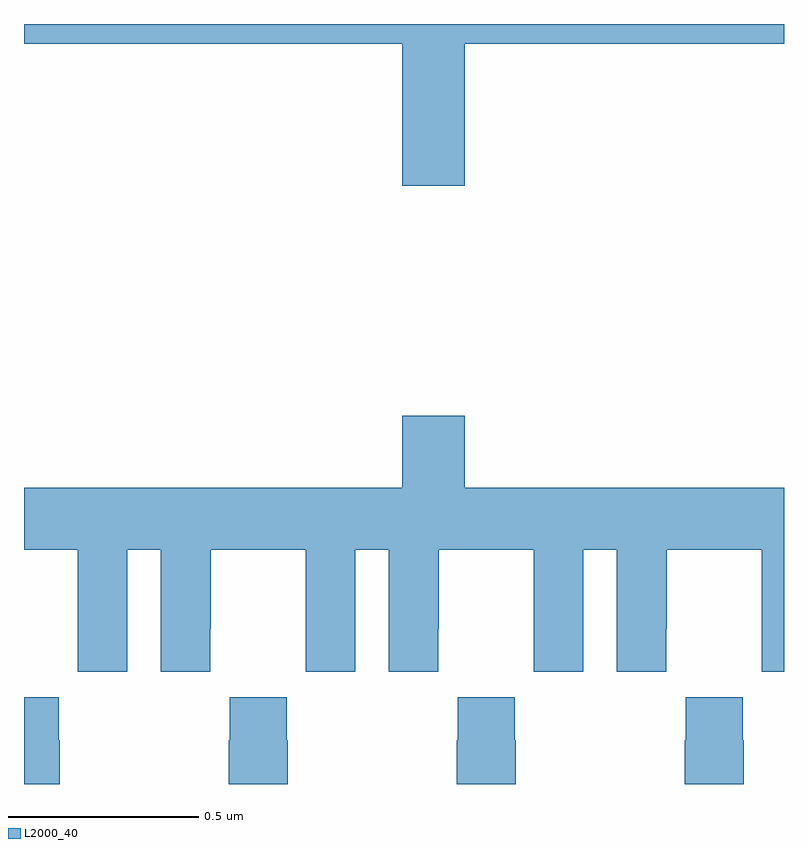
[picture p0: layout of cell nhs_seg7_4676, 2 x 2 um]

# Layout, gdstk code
import gdstk
lib = gdstk.Library(unit=1e-6, precision=1e-09)
def P(c, l, *ps):  # polygons
    for p in ps: c.add(gdstk.Polygon(p, *l))
L2000_40 = (2000, 40)

nhs_seg7_4676 = lib.new_cell('nhs_seg7_4676')
P(nhs_seg7_4676, L2000_40, [(177.16,1001.948),(178,1001.948),(178,1002),(176,1002),(176,1001.948),(176.996,1001.948),(176.996,1001.574),(177.16,1001.574)],
  [(176.272,1000.616),(176.36,1000.616),(176.36,1000.296),(176.49,1000.296),(176.49,1000.408),(176.491,1000.408),(176.491,1000.616),(176.741,1000.616),(176.741,1000.408),(176.742,1000.408),(176.742,1000.296),(176.872,1000.296),(176.872,1000.616),(176.96,1000.616),(176.96,1000.296),(177.09,1000.296),(177.09,1000.408),(177.091,1000.408),(177.091,1000.616),(177.341,1000.616),(177.341,1000.408),(177.342,1000.408),(177.342,1000.296),(177.472,1000.296),(177.472,1000.616),(177.56,1000.616),(177.56,1000.296),(177.69,1000.296),(177.69,1000.408),(177.691,1000.408),(177.691,1000.616),(177.941,1000.616),(177.941,1000.408),(177.942,1000.408),(177.942,1000.296),(178,1000.296),(178,1000.78),(177.16,1000.78),(177.16,1000.969),(176.996,1000.969),(176.996,1000.78),(176,1000.78),(176,1000.616),(176.141,1000.616),(176.141,1000.408),(176.142,1000.408),(176.142,1000.296),(176.272,1000.296)],
  [(177.894,1000.115),(177.891,1000.115),(177.891,1000.228),(177.741,1000.228),(177.741,1000.115),(177.739,1000.115),(177.739,1000),(177.894,1000)],
  [(177.294,1000.115),(177.291,1000.115),(177.291,1000.228),(177.141,1000.228),(177.141,1000.115),(177.139,1000.115),(177.139,1000),(177.294,1000)],
  [(176.694,1000.115),(176.691,1000.115),(176.691,1000.228),(176.541,1000.228),(176.541,1000.115),(176.539,1000.115),(176.539,1000),(176.694,1000)],
  [(176.094,1000.115),(176.091,1000.115),(176.091,1000.228),(176,1000.228),(176,1000),(176.094,1000)])

lib.write_gds('nhs_seg7_4676.gds')
